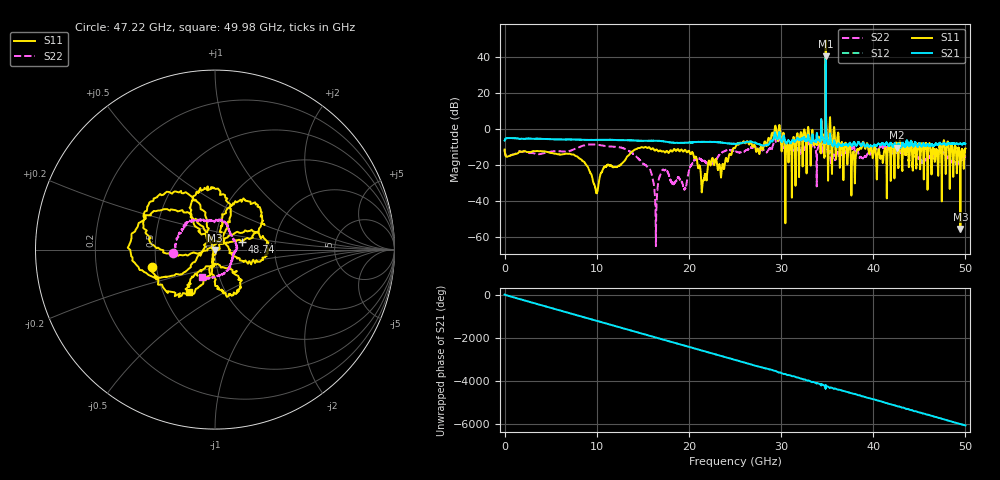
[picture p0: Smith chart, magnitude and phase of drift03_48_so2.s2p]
!Created with skrf (http://scikit-rf.org).
# Hz S RI R 50.0
!freq ReS11 ImS11 ReS21 ImS21 ReS12 ImS12 ReS22 ImS22
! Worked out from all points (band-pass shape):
!   10001 points, 300 kHz to 50 GHz, reference 50 ohm
!   highest |S21| = 40.51 dB at 34.85 GHz (marker M1); lowest = -10.4 dB at 42.56 GHz (marker M2)
!   |S21| within 3 dB of the highest: 34.84443 GHz to 34.84561 GHz (1.183 MHz wide, 0.00339 % of centre)
!   lowest |S11| = -55.6 dB at 49.46 GHz (marker M3), VSWR 1.00, Z = 50 - j0.162 ohm
!   |S11| at or under -10 dB: start of sweep to 15.23 GHz; 15.31 GHz to 25.05 GHz (9.741 GHz wide, 48.3 % of centre); 40.22 GHz to 41.62 GHz (1.4 GHz wide, 3.42 % of centre) (the widest 3 of 54)
!   |S22| runs from -65.2 to 31.6 dB; largest |S21 - S12| = 15
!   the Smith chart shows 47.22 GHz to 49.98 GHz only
!   S11 on the Smith chart (normalised r, x): 47.22 GHz: 0.47, -0.11; 48.74 GHz: 1.35, +0.12; 49.98 GHz: 0.68, -0.35
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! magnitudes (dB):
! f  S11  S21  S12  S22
! 300 kHz  -11.4  -6.5  -6.4  -11.4
! 8.335 GHz  -17.1  -6.0  -6.0  -9.6
! 9.955 GHz  -35.5  -6.1  -6.1  -8.7
! 11.01 GHz  -20.9  -6.0  -6.0  -9.5
! 16.67 GHz  -12.4  -6.5  -6.5  -29.6
! 17.34 GHz  -12.8  -6.9  -6.9  -22.9
! 19.55 GHz  -11.7  -7.7  -7.7  -33.2
! 20.21 GHz  -13.9  -7.5  -7.5  -20.3
! 21.55 GHz  -28.5  -7.2  -7.2  -17.8
! 25 GHz  -10.6  -8.2  -8.2  -12.6
! 33.34 GHz  -3.8  -6.8  -6.7  -9.3
! 34.85 GHz  49.3  40.5  40.3  31.6
! 35.63 GHz  -5.8  -9.3  -9.3  -15.8
! 37.83 GHz  -12.7  -8.3  -8.3  -9.7
! 38.81 GHz  -8.9  -8.3  -8.2  -16.2
! 41.67 GHz  -9.3  -9.4  -9.3  -11.3
! 42.56 GHz  -8.4  -10.4  -10.4  -13.3
! 47.22 GHz  -8.8  -7.8  -7.8  -12.6
! 48.74 GHz  -16.1  -8.2  -8.1  -18.2
! 49.46 GHz  -55.6  -8.2  -8.2  -17.7
! 49.98 GHz  -11.2  -8.2  -8.2  -15.4
! 50 GHz  -10.8  -8.2  -8.3  -15.5
